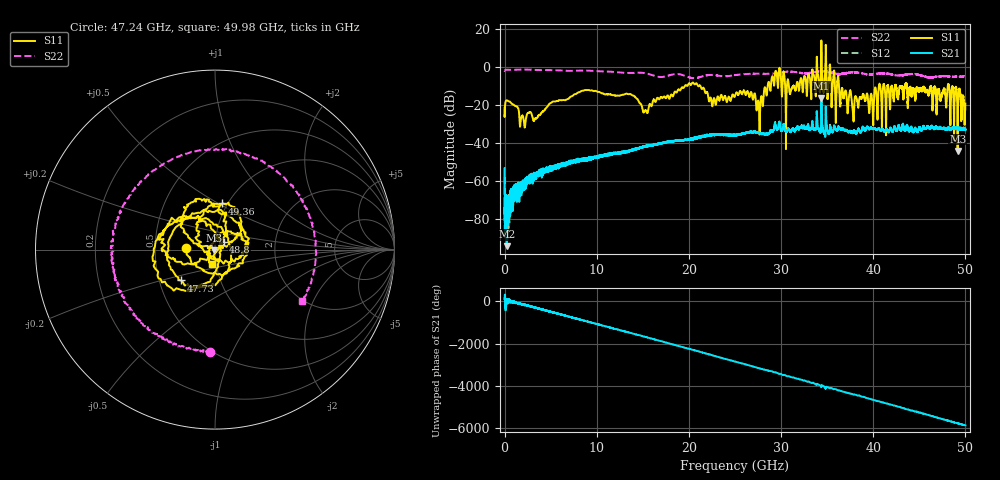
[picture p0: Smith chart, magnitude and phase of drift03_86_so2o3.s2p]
!Created with skrf (http://scikit-rf.org).
# Hz S RI R 50.0
!freq ReS11 ImS11 ReS21 ImS21 ReS12 ImS12 ReS22 ImS22
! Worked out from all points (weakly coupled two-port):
!   10001 points, 300 kHz to 50 GHz, reference 50 ohm
!   highest |S21| = -16.39 dB at 34.37 GHz (marker M1); lowest = -94.4 dB at 255.3 MHz (marker M2)
!   lowest |S11| = -44.3 dB at 49.16 GHz (marker M3), VSWR 1.01, Z = 49.5 - j0.284 ohm
!   |S11| at or under -10 dB: start of sweep to 19.55 GHz; 21.25 GHz to 28.55 GHz (7.295 GHz wide, 29.3 % of centre); 36.28 GHz to 40.61 GHz (4.328 GHz wide, 11.3 % of centre) (the widest 3 of 37)
!   |S22| runs from -5.9 to -1.3 dB; largest |S21 - S12| = 0.028
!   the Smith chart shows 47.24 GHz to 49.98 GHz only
!   S11 on the Smith chart (normalised r, x): 47.24 GHz: 0.72, +0.02; 47.73 GHz: 0.65, -0.24; 48.8 GHz: 1.10, +0.10; 49.36 GHz: 0.95, +0.52; 49.98 GHz: 0.95, -0.15
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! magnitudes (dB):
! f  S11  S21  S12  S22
! 300 kHz  -21.5  -53.3  -58.0  -2.0
! 255.3 MHz  -17.6  -94.4  -74.2  -1.4
! 3.3 GHz  -27.2  -57.5  -57.0  -1.5
! 8.335 GHz  -12.7  -49.1  -49.1  -1.9
! 15.29 GHz  -22.8  -41.9  -41.7  -3.2
! 16.67 GHz  -16.5  -40.6  -40.4  -5.1
! 20.26 GHz  -9.2  -37.9  -37.5  -5.8
! 25 GHz  -15.3  -36.0  -35.7  -4.3
! 27.52 GHz  -17.8  -34.5  -34.5  -3.5
! 29.28 GHz  -8.2  -31.1  -30.4  -3.3
! 30.73 GHz  -6.5  -32.5  -32.5  -2.4
! 33.34 GHz  -7.6  -31.2  -31.1  -2.9
! 34.37 GHz  14.0  -16.4  -17.8  -2.3
! 37.87 GHz  -28.4  -33.6  -34.1  -2.8
! 41.67 GHz  -11.2  -34.3  -34.0  -3.6
! 47.24 GHz  -15.7  -31.6  -31.4  -4.9
! 47.73 GHz  -11.9  -32.2  -32.3  -4.7
! 48.8 GHz  -23.7  -32.7  -32.3  -5.1
! 49.16 GHz  -44.3  -31.9  -32.3  -5.1
! 49.36 GHz  -11.7  -32.2  -32.4  -5.1
! 49.98 GHz  -21.8  -32.9  -32.8  -5.0
! 50 GHz  -19.3  -33.1  -33.1  -5.0
